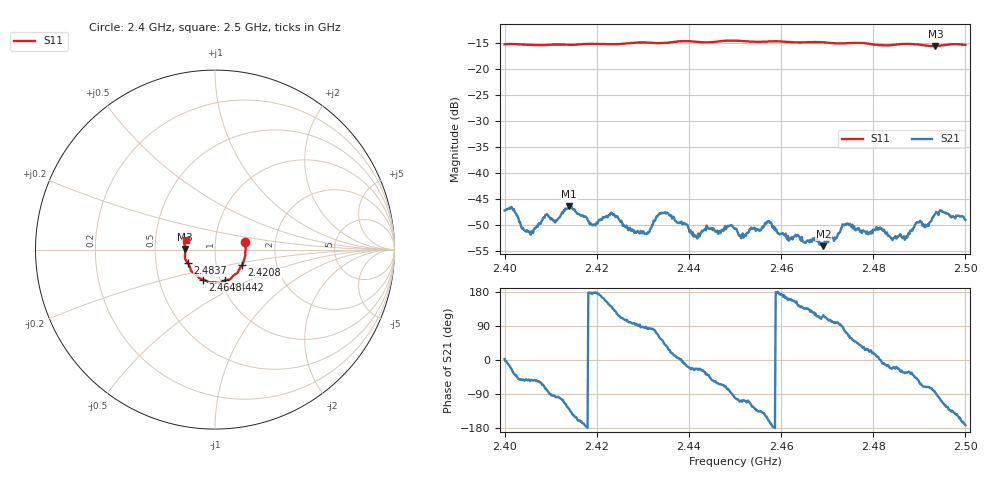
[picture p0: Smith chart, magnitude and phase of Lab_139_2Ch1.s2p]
# Hz S RI R 50
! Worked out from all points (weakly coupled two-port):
!   601 points, 2.4 GHz to 2.5 GHz, reference 50 ohm
!   highest |S21| = -46.49 dB at 2.414 GHz (marker M1); lowest = -54.1 dB at 2.4692 GHz (marker M2)
!   lowest |S11| = -15.6 dB at 2.4935 GHz (marker M3), VSWR 1.40, Z = 35.8 + j0.219 ohm
!   |S11| at or under -10 dB: start of sweep to end of sweep
!   S12 and S22 are empty: the file has one direction only
!   S11 on the Smith chart (normalised r, x): 2.4 GHz: 1.40, +0.12; 2.4208 GHz: 1.33, -0.24; 2.4442 GHz: 1.05, -0.37; 2.4648 GHz: 0.83, -0.29; 2.4837 GHz: 0.73, -0.11; 2.5 GHz: 0.72, +0.08
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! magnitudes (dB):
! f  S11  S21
! 2.4 GHz  -15.3  -47.3
! 2.4057 GHz  -15.4  -51.9
! 2.414 GHz  -15.4  -46.5
! 2.4167 GHz  -15.2  -48.3
! 2.4208 GHz  -15.2  -49.1
! 2.4235 GHz  -15.2  -48.1
! 2.4308 GHz  -14.9  -51.8
! 2.4333 GHz  -15.0  -48.2
! 2.4413 GHz  -14.7  -52.1
! 2.4442 GHz  -14.9  -50.7
! 2.45 GHz  -14.5  -50.7
! 2.4518 GHz  -14.6  -52.5
! 2.4575 GHz  -14.7  -49.6
! 2.4648 GHz  -14.9  -53.3
! 2.4667 GHz  -14.8  -53.3
! 2.4692 GHz  -14.9  -54.1
! 2.4738 GHz  -15.1  -49.9
! 2.4833 GHz  -15.5  -52.1
! 2.4837 GHz  -15.4  -52.4
! 2.487 GHz  -15.2  -52.7
! 2.4935 GHz  -15.6  -47.9
! 2.5 GHz  -15.4  -49.1
